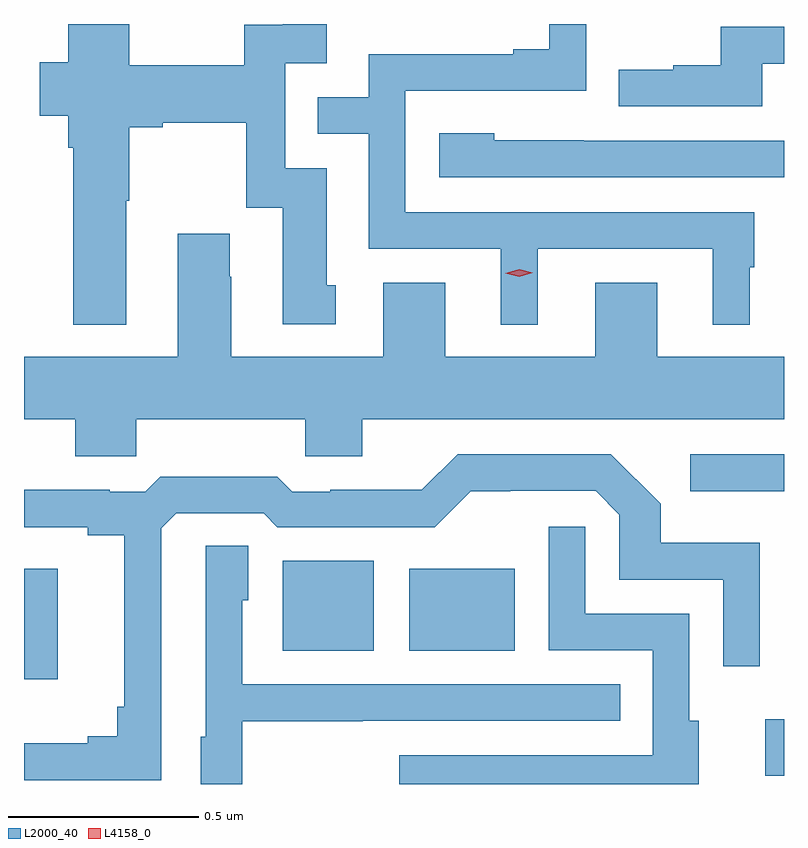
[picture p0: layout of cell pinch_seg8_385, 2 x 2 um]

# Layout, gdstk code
import gdstk
lib = gdstk.Library(unit=1e-6, precision=1e-09)
def R(c, l, rs):  # rectangles x0, y0, x1, y1
    for r in rs: c.add(gdstk.rectangle(r[:2], r[2:], *l))
def P(c, l, *ps):  # polygons
    for p in ps: c.add(gdstk.Polygon(p, *l))
L2000_40 = (2000, 40)
L4158_0 = (4158, 0)

pinch_seg8_385 = lib.new_cell('pinch_seg8_385')
R(pinch_seg8_385, L2000_40, [(413.229,1104.906,413.278,1105.054), (411.278,1105.16,411.367,1105.45), (411.959,1105.235,412.198,1105.471), (412.292,1105.235,412.57,1105.45), (413.031,1105.655,413.278,1105.752)])
P(pinch_seg8_385, L2000_40, [(411.547,1106.419),(411.555,1106.419),(411.555,1106.612),(411.643,1106.612),(411.643,1106.624),(411.863,1106.624),(411.863,1106.4),(411.959,1106.4),(411.959,1106.094),(412.099,1106.094),(412.099,1106.196),(412.075,1106.196),(412.075,1106.505),(411.966,1106.505),(411.966,1106.781),(412.075,1106.781),(412.075,1106.884),(411.959,1106.884),(411.959,1106.882),(411.858,1106.882),(411.858,1106.776),(411.555,1106.776),(411.555,1106.884),(411.395,1106.884),(411.395,1106.784),(411.32,1106.784),(411.32,1106.642),(411.395,1106.642),(411.395,1106.558),(411.407,1106.558),(411.407,1106.093),(411.547,1106.093)],
  [(412.63,1106.292),(413.09,1106.292),(413.09,1106.093),(413.188,1106.093),(413.188,1106.244),(413.2,1106.244),(413.2,1106.388),(412.281,1106.388),(412.281,1106.709),(412.758,1106.709),(412.758,1106.884),(412.66,1106.884),(412.66,1106.818),(412.565,1106.818),(412.565,1106.805),(412.185,1106.805),(412.185,1106.691),(412.051,1106.691),(412.051,1106.595),(412.185,1106.595),(412.185,1106.292),(412.532,1106.292),(412.532,1106.093),(412.63,1106.093)],
  [(413.221,1106.78),(413.278,1106.78),(413.278,1106.877),(413.111,1106.877),(413.111,1106.776),(412.987,1106.776),(412.987,1106.764),(412.843,1106.764),(412.843,1106.667),(413.221,1106.667)],
  [(413.278,1106.577),(412.751,1106.577),(412.751,1106.578),(412.515,1106.578),(412.515,1106.596),(412.371,1106.596),(412.371,1106.481),(413.278,1106.481)],
  [(411.573,1105.844),(412.018,1105.844),(412.018,1105.746),(412.168,1105.746),(412.168,1105.844),(413.278,1105.844),(413.278,1106.008),(412.945,1106.008),(412.945,1106.203),(412.781,1106.203),(412.781,1106.008),(412.387,1106.008),(412.387,1106.203),(412.223,1106.203),(412.223,1106.008),(411.823,1106.008),(411.823,1106.219),(411.82,1106.219),(411.82,1106.332),(411.683,1106.332),(411.683,1106.008),(411.278,1106.008),(411.278,1105.844),(411.413,1105.844),(411.413,1105.746),(411.573,1105.746)],
  [(411.639,1105.557),(411.678,1105.596),(411.909,1105.596),(411.945,1105.56),(412.359,1105.56),(412.454,1105.655),(412.558,1105.655),(412.558,1105.656),(412.782,1105.656),(412.845,1105.593),(412.845,1105.422),(413.118,1105.422),(413.118,1105.194),(413.214,1105.194),(413.214,1105.519),(412.953,1105.519),(412.953,1105.622),(412.822,1105.752),(412.419,1105.752),(412.325,1105.658),(412.084,1105.658),(412.084,1105.653),(411.984,1105.653),(411.945,1105.693),(411.637,1105.693),(411.597,1105.653),(411.503,1105.653),(411.503,1105.658),(411.278,1105.658),(411.278,1105.56),(411.446,1105.56),(411.446,1105.538),(411.542,1105.538),(411.542,1105.087),(411.523,1105.087),(411.523,1105.01),(411.446,1105.01),(411.446,1104.991),(411.278,1104.991),(411.278,1104.894),(411.639,1104.894)],
  [(413.053,1105.05),(413.028,1105.05),(413.028,1105.332),(412.755,1105.332),(412.755,1105.561),(412.659,1105.561),(412.659,1105.236),(412.932,1105.236),(412.932,1104.96),(412.265,1104.96),(412.265,1104.884),(413.053,1104.884)],
  [(411.852,1105.049),(412.169,1105.049),(412.169,1105.05),(412.847,1105.05),(412.847,1105.146),(411.852,1105.146),(411.852,1105.368),(411.868,1105.368),(411.868,1105.511),(411.756,1105.511),(411.756,1105.008),(411.743,1105.008),(411.743,1104.884),(411.852,1104.884)])
P(pinch_seg8_385, L4158_0, [(412.581,1106.219),(412.545,1106.228),(412.545,1106.228),(412.545,1106.228),(412.581,1106.239),(412.617,1106.23),(412.617,1106.23),(412.617,1106.23)])

lib.write_gds('pinch_seg8_385.gds')
